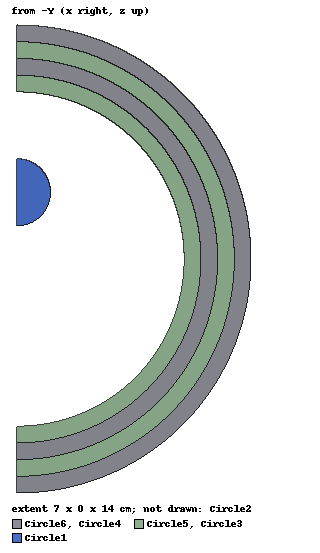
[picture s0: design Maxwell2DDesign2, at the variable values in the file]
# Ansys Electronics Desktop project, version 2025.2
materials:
  vacuum: permittivity=1
  Sphere_J: permeability=1
  Ext1: permeability=0.801713
  Ext2: permeability=2.88849
  Ext3: permeability=0.163862
  Ext4: permeability=37.8756
  Sphere_M: permeability=1.6 magnetic_coercivity{Magnitude=-200000A_per_meter DirComp1=0 DirComp2=0 DirComp3=1}

design Maxwell2DDesign2 (Maxwell 2D, Magnetostatic, about Z geometry, model units cm)
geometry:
  Circle1 [Sphere_M] = circle(normal=Y, centre=(0cm, 0cm, 2cm), radius=1cm)
  Circle2 [vacuum] = circle(normal=Y, centre=(0cm, 0cm, 0cm), radius=5cm)
  Circle3 [Ext1] = circle(normal=Y, centre=(0cm, 0cm, 0cm), radius=5.5cm)
  Circle4 [Ext2] = circle(normal=Y, centre=(0cm, 0cm, 0cm), radius=6cm)
  Circle5 [Ext3] = circle(normal=Y, centre=(0cm, 0cm, 0cm), radius=6.5cm)
  Circle6 [Ext4] = circle(normal=Y, centre=(0cm, 0cm, 0cm), radius=7cm)
  Circle5_1 = Circle5.copy()
  Circle6.subtract(Circle5_1)
  Circle4_1 = Circle4.copy()
  Circle5.subtract(Circle4_1)
  Circle3_1 = Circle3.copy()
  Circle4.subtract(Circle3_1)
  Circle2_1 = Circle2.copy()
  Circle3.subtract(Circle2_1)
  Circle1_1 = Circle1.copy()
  Circle2.subtract(Circle1_1)
  [Circle6, Circle5, Circle4, Circle3, Circle2, Circle1].split(plane=YZ, keep=PositiveOnly)
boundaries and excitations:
  VectorPotentialInf: Vector Potential Edges=Circle6.edge(at (7, 0, 0)) Value=0
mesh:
  initial mesh: GlobalSurfApproximation{CurvedSurfaceApproxChoice=UseSlider SliderMeshSettings=9}
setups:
  Setup1: Magnetostatic MaximumPasses=15 MinimumPasses=2 MinimumConvergedPasses=1 PercentRefinement=30 PercentError=1.5e-06 NonLinearResidual=0.0001
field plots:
  Mag_B1: B over Circle1..Circle6 on Setup1 : LastAdaptive
